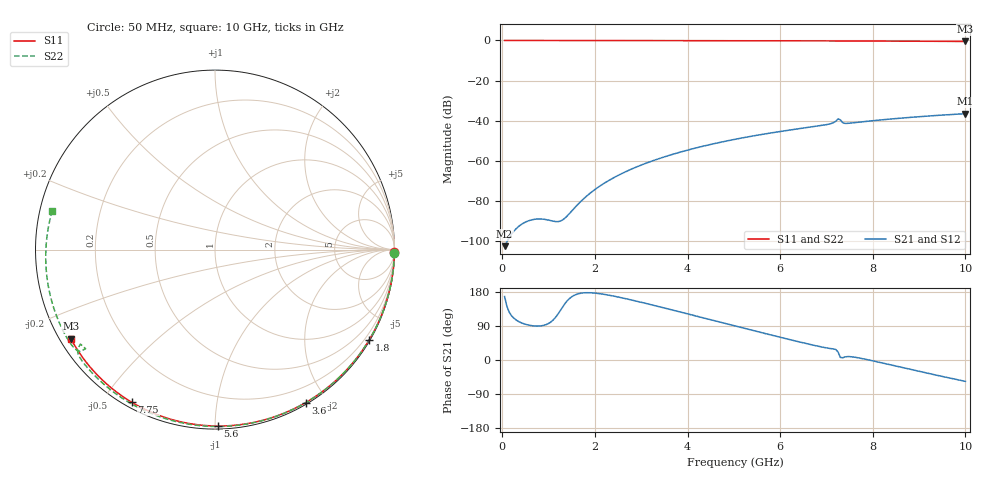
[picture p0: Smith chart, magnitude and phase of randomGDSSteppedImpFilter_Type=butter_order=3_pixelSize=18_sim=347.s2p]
! freq	dB(S11)	phase(S11)	dB(S12)	phase(S12)
!  dB(S21)	phase(S21)	dB(S22)	phase(S22)
!S-par simulation data
#  GHz  S  DB  R 50
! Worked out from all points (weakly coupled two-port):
!   200 points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, 50 MHz to 10 GHz, reference 50 ohm
!   highest |S21| = -36.51 dB at 10 GHz (marker M1); lowest = -102.6 dB at 50 MHz (marker M2)
!   lowest |S11| = -0.5 dB at 10 GHz (marker M3), VSWR 34.68, Z = 1.56 - j14.2 ohm
!   |S11| at or under -10 dB: nowhere
!   |S22| runs from -0.8 to 0.0 dB; largest |S21 - S12| = 0
!   S11 on the Smith chart (normalised r, x): 50 MHz: open; 1.8 GHz: 0.03, -3.67; 3.6 GHz: 0.02, -1.75; 5.6 GHz: 0.02, -1.02; 7.75 GHz: 0.02, -0.59; 10 GHz: 0.03, -0.28
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0.05  -0.00 -0.9  -102.56 167.4  -102.56 167.4  -0.00 -1.1
0.85  -0.02 -14.5  -89.03 90.3  -89.03 90.3  -0.02 -19.0
1.7  -0.04 -28.8  -80.16 176.3  -80.16 176.3  -0.05 -37.5
1.75  -0.04 -29.7  -79.07 177.1  -79.07 177.1  -0.05 -38.6
1.8  -0.04 -30.5  -78.03 177.5  -78.03 177.5  -0.05 -39.7
2.1  -0.05 -35.4  -72.70 175.1  -72.70 175.1  -0.06 -46.1
2.45  -0.05 -41.1  -67.89 167.5  -67.89 167.5  -0.07 -53.4
3.4  -0.08 -56.3  -58.79 140.3  -58.79 140.3  -0.10 -72.7
3.6  -0.08 -59.4  -57.32 134.2  -57.32 134.2  -0.10 -76.6
4.3  -0.10 -70.1  -52.92 112.5  -52.92 112.5  -0.13 -90.1
5.05  -0.13 -81.2  -49.17 89.1  -49.17 89.1  -0.16 -104.1
5.6  -0.15 -89.1  -46.87 72.2  -46.87 72.2  -0.19 -114.1
6.7  -0.20 -104.5  -43.05 39.5  -43.05 39.5  -0.26 -133.8
7.1  -0.23 -109.9  -41.43 30.0  -41.43 30.0  -0.33 -141.5
7.25  -0.24 -111.9  -39.12 21.4  -39.12 21.4  -0.76 -144.9
7.3  -0.24 -112.6  -39.57 6.8  -39.57 6.8  -0.84 -142.5
7.35  -0.24 -113.2  -40.99 5.9  -40.99 5.9  -0.52 -142.9
7.4  -0.25 -113.9  -41.35 8.1  -41.35 8.1  -0.41 -144.2
7.75  -0.27 -118.6  -40.61 4.3  -40.61 4.3  -0.35 -151.4
8.35  -0.32 -126.5  -39.25 -11.8  -39.25 -11.8  -0.41 -162.3
9.2  -0.41 -137.7  -37.67 -35.4  -37.67 -35.4  -0.50 -177.8
10  -0.50 -148.3  -36.51 -56.3  -36.51 -56.3  -0.61 166.8
